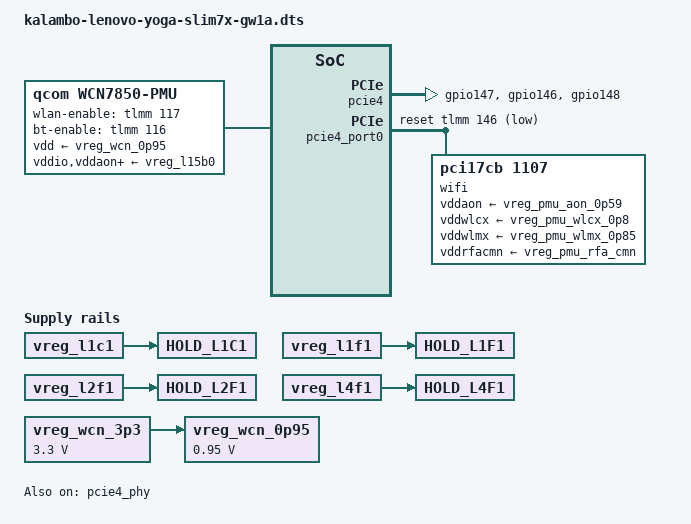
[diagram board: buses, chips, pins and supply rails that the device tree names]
// SPDX-License-Identifier: BSD-3-Clause
/*
 * gw1a = g1 (validado no hardware) + Wi-Fi interno FastConnect 7800 / WCN7850
 * (PCI 17cb:1107, subsystem 17aa:e0e9) em pcie4, SEM dirigir o GPIO 94.
 *
 * REF  = arch/arm64/boot/dts/qcom/glymur-lenovo-yoga-slim7x.dts (mesmo chassi,
 *        variante Elite)
 * DSDT = local/iso-build/acpi/acpi-registry-0000.dsl
 *
 * GPIOs dirigidos como saida por este DTB (alem dos do g1, que nao tem nenhum):
 *   117 WLAN_EN  REF:322      DSDT:80055-80061 (GWLE 0x75), _RST :80083-80085
 *   116 BT_EN    REF:323      DSDT:108365-108369 (BTH0 GpioIo 0x74)
 *   146 PERST#   REF:575      DSDT:79733-79740 (QPPX GpioIo 0x92)
 * GPIO 147 (CLKREQ#, funcao pcie4_clk_req_n, REF:828-833, DSDT:65082 TLMMGPIO
 * 0x93) e GPIO 148 (WAKE#, entrada, REF:576/:842-847) nao sao saidas GPIO.
 *
 * O GPIO 94 (chave do 3,3 V do modulo na REF:234-248) NAO e tocado aqui: o DSDT
 * so o cita no mapa de wake (DSDT:78508). vreg_wcn_3p3 e vreg_wcn_0p95 sao
 * puramente declarativos. HIPOTESE: o firmware deixou o 3,3 V do modulo ligado.
 * Se nao deixou, o link PCIe nao sobe e o resto do sistema segue igual ao g1.
 */

#include "kalambo-lenovo-yoga-slim7x-g1.dts"

/ {
	/*
	 * Trilhos do modulo WLAN. Sem gpio, sem pinctrl: o kernel nao liga nem
	 * desliga nada, so satisfaz o vdd-supply obrigatorio do pwrseq
	 * (pwrseq-qcom-wcn.c:417-425). Tensoes = REF:224-248.
	 */
	vreg_wcn_3p3: regulator-wcn-3p3 {
		compatible = "regulator-fixed";

		regulator-name = "VREG_WCN_3P3";
		regulator-min-microvolt = <3300000>;
		regulator-max-microvolt = <3300000>;

		regulator-always-on;
	};

	vreg_wcn_0p95: regulator-wcn-0p95 {
		compatible = "regulator-fixed";

		regulator-name = "VREG_WCN_0P95";
		regulator-min-microvolt = <950000>;
		regulator-max-microvolt = <950000>;

		vin-supply = <&vreg_wcn_3p3>;

		regulator-always-on;
	};

	/*
	 * Seguradores de trilho (NAO existem na REF). Sem tensao propria e sem
	 * gpio: so mantem um voto de enable permanente no trilho RPMh pai, na
	 * tensao que glymur-cob.dtsi ja declara (nenhum regulador existente e
	 * alterado).
	 *
	 * Motivo: pcie4_phy e o clkref TCSR_PCIE_2_CLKREF_EN ligam l1c1, l4f1,
	 * l1f1 e l2f1 (glymur-cob.dtsi:204-207, mahua.dtsi:416-420,
	 * tcsrcc-glymur.c:64-71, :197-202) e os DESLIGAM quando o probe do
	 * pcie-qcom falha ou adia (pcie-qcom.c:1502-1541: -EPROBE_DEFER enquanto
	 * pci-pwrctrl-pwrseq, que so esta no rootfs, nao carregou). l2f1 e l4f1
	 * tambem alimentam o mdss_dp3_phy (glymur-cob.dtsi:199-202), que no g1
	 * nao tem consumidor no kernel. HIPOTESE: sem isto a tela deixada pelo
	 * firmware pode apagar no primeiro desligamento desses trilhos.
	 * Tensoes conferem com o voto do PEP para PCI4 (DSDT:64791-64868).
	 */
	regulator-hold-l1c1 {
		compatible = "regulator-fixed";
		regulator-name = "HOLD_L1C1";
		vin-supply = <&vreg_l1c1>;
		regulator-always-on;
	};

	regulator-hold-l1f1 {
		compatible = "regulator-fixed";
		regulator-name = "HOLD_L1F1";
		vin-supply = <&vreg_l1f1>;
		regulator-always-on;
	};

	regulator-hold-l2f1 {
		compatible = "regulator-fixed";
		regulator-name = "HOLD_L2F1";
		vin-supply = <&vreg_l2f1>;
		regulator-always-on;
	};

	regulator-hold-l4f1 {
		compatible = "regulator-fixed";
		regulator-name = "HOLD_L4F1";
		vin-supply = <&vreg_l4f1>;
		regulator-always-on;
	};

	/*
	 * REF:312-369, identico. vreg_l15b0 ja e regulator-always-on
	 * (glymur-cob.dtsi:53-60). bt-enable-gpios e opcional no driver
	 * (pwrseq-qcom-wcn.c:524), mantido como na REF: sem no bluetooth o
	 * BT_EN fica em nivel baixo desde o probe do PMU.
	 */
	wcn7850-pmu {
		compatible = "qcom,wcn7850-pmu";

		vdd-supply = <&vreg_wcn_0p95>;
		vddio-supply = <&vreg_l15b0>;
		vddaon-supply = <&vreg_l15b0>;
		vdddig-supply = <&vreg_l15b0>;
		vddrfa1p2-supply = <&vreg_l15b0>;
		vddrfa1p8-supply = <&vreg_l15b0>;

		wlan-enable-gpios = <&tlmm 117 GPIO_ACTIVE_HIGH>;
		bt-enable-gpios = <&tlmm 116 GPIO_ACTIVE_HIGH>;

		pinctrl-0 = <&wcn_wlan_bt_en>;
		pinctrl-names = "default";

		regulators {
			vreg_pmu_rfa_cmn: ldo0 {
				regulator-name = "vreg_pmu_rfa_cmn";
			};

			vreg_pmu_aon_0p59: ldo1 {
				regulator-name = "vreg_pmu_aon_0p59";
			};

			vreg_pmu_wlcx_0p8: ldo2 {
				regulator-name = "vreg_pmu_wlcx_0p8";
			};

			vreg_pmu_wlmx_0p85: ldo3 {
				regulator-name = "vreg_pmu_wlmx_0p85";
			};

			vreg_pmu_btcmx_0p85: ldo4 {
				regulator-name = "vreg_pmu_btcmx_0p85";
			};

			vreg_pmu_rfa_0p8: ldo5 {
				regulator-name = "vreg_pmu_rfa_0p8";
			};

			vreg_pmu_rfa_1p2: ldo6 {
				regulator-name = "vreg_pmu_rfa_1p2";
			};

			vreg_pmu_rfa_1p8: ldo7 {
				regulator-name = "vreg_pmu_rfa_1p8";
			};

			vreg_pmu_pcie_0p9: ldo8 {
				regulator-name = "vreg_pmu_pcie_0p9";
			};

			vreg_pmu_pcie_1p8: ldo9 {
				regulator-name = "vreg_pmu_pcie_1p8";
			};
		};
	};
};

/* ACPI PCI4, _SEG 4, WLAN em RP1.EP1 (DSDT:81499-81509). REF:563-568 */
&pcie4 {
	pinctrl-0 = <&pcie4_default>;
	pinctrl-names = "default";

	status = "okay";
};

/* Supplies herdados: vdda-phy = l1c1, vdda-pll = l4f1 (glymur-cob.dtsi:204-207). REF:570-572 */
&pcie4_phy {
	status = "okay";
};

/* REF:574-592 */
&pcie4_port0 {
	reset-gpios = <&tlmm 146 GPIO_ACTIVE_LOW>;
	wake-gpios = <&tlmm 148 GPIO_ACTIVE_LOW>;

	wifi@0 {
		compatible = "pci17cb,1107";
		reg = <0x10000 0x0 0x0 0x0 0x0>;

		vddaon-supply = <&vreg_pmu_aon_0p59>;
		vddwlcx-supply = <&vreg_pmu_wlcx_0p8>;
		vddwlmx-supply = <&vreg_pmu_wlmx_0p85>;
		vddrfacmn-supply = <&vreg_pmu_rfa_cmn>;
		vddrfa0p8-supply = <&vreg_pmu_rfa_0p8>;
		vddrfa1p2-supply = <&vreg_pmu_rfa_1p2>;
		vddrfa1p8-supply = <&vreg_pmu_rfa_1p8>;
		vddpcie0p9-supply = <&vreg_pmu_pcie_0p9>;
		vddpcie1p8-supply = <&vreg_pmu_pcie_1p8>;
	};
};

&tlmm {
	/* REF:820-825 */
	wcn_wlan_bt_en: wcn-wlan-bt-en-state {
		pins = "gpio116", "gpio117";
		function = "gpio";
		drive-strength = <2>;
		bias-disable;
	};

	/* REF:827-848 */
	pcie4_default: pcie4-default-state {
		clkreq-n-pins {
			pins = "gpio147";
			function = "pcie4_clk_req_n";
			drive-strength = <2>;
			bias-pull-up;
		};

		perst-n-pins {
			pins = "gpio146";
			function = "gpio";
			drive-strength = <2>;
			bias-disable;
		};

		wake-n-pins {
			pins = "gpio148";
			function = "gpio";
			drive-strength = <2>;
			bias-pull-up;
		};
	};
};
